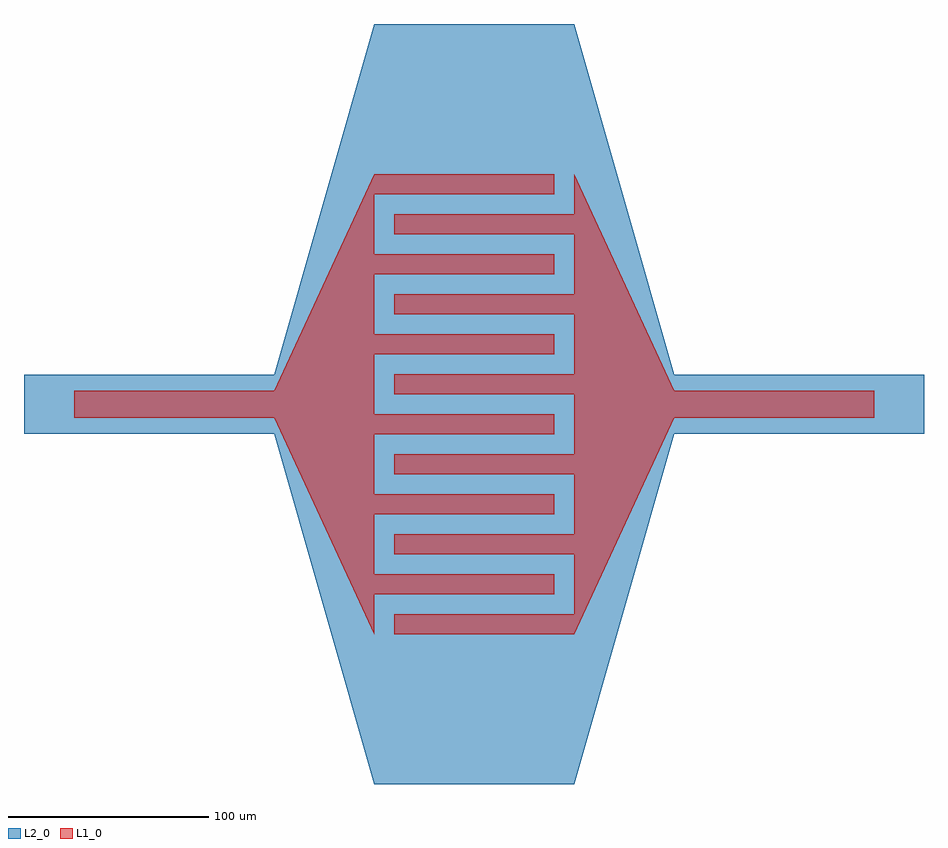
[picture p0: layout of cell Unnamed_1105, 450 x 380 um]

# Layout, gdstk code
from math import pi, radians
import gdstk
lib = gdstk.Library(unit=1e-6, precision=1e-09)
def R(c, l, rs):  # rectangles x0, y0, x1, y1
    for r in rs: c.add(gdstk.rectangle(r[:2], r[2:], *l))
def P(c, l, *ps):  # polygons
    for p in ps: c.add(gdstk.Polygon(p, *l))
L1_0 = (1, 0)
L2_0 = (2, 0)

unnamed_1106 = lib.new_cell('Unnamed_1106')
R(unnamed_1106, L2_0, [(0,-14.75,25,14.75)])

unnamed_1107 = lib.new_cell('Unnamed_1107')
R(unnamed_1107, L2_0, [(0,-14.75,25,14.75)])

unnamed_1108 = lib.new_cell('Unnamed_1108')
R(unnamed_1108, L1_0, [(0,-6.75,100,6.75)])
R(unnamed_1108, L2_0, [(0,-14.75,100,14.75)])

unnamed_1109 = lib.new_cell('Unnamed_1109')
R(unnamed_1109, L1_0, [(0,-6.75,100,6.75)])
R(unnamed_1109, L2_0, [(0,-14.75,100,14.75)])

unnamed_1117 = lib.new_cell('Unnamed_1117')
P(unnamed_1117, L1_0, [(-50,-115),(-100,-6.75),(-100,6.75),(-50,115),(40,115),(40,105),(-50,105),(-50,75),(40,75),(40,65),(-50,65),(-50,35),(40,35),(40,25),(-50,25),(-50,-5),(40,-5),(40,-15),(-50,-15),(-50,-45),(40,-45),(40,-55),(-50,-55),(-50,-85),(40,-85),(40,-95),(-50,-95)],
  [(-40,-115),(-40,-105),(50,-105),(50,-75),(-40,-75),(-40,-65),(50,-65),(50,-35),(-40,-35),(-40,-25),(50,-25),(50,5),(-40,5),(-40,15),(50,15),(50,45),(-40,45),(-40,55),(50,55),(50,85),(-40,85),(-40,95),(50,95),(50,115),(100,6.75),(100,-6.75),(50,-115)])

unnamed_1120 = lib.new_cell('Unnamed_1120')
P(unnamed_1120, L2_0, [(-50,-190),(-100,-14.75),(-100,14.75),(-50,190),(50,190),(100,14.75),(100,-14.75),(50,-190)])

unnamed_1121 = lib.new_cell('Unnamed_1121')
unnamed_1121.add(gdstk.Reference(unnamed_1117, (0,0)))
unnamed_1121.add(gdstk.Reference(unnamed_1120, (0,0)))

unnamed_1105 = lib.new_cell('Unnamed_1105')
unnamed_1105.add(gdstk.Reference(unnamed_1106, (-200,0), rotation=pi))
unnamed_1105.add(gdstk.Reference(unnamed_1107, (200,0)))
unnamed_1105.add(gdstk.Reference(unnamed_1108, (-100,0), rotation=pi))
unnamed_1105.add(gdstk.Reference(unnamed_1109, (100,0)))
unnamed_1105.add(gdstk.Reference(unnamed_1121, (0,0)))

lib.write_gds('Unnamed_1105.gds')
